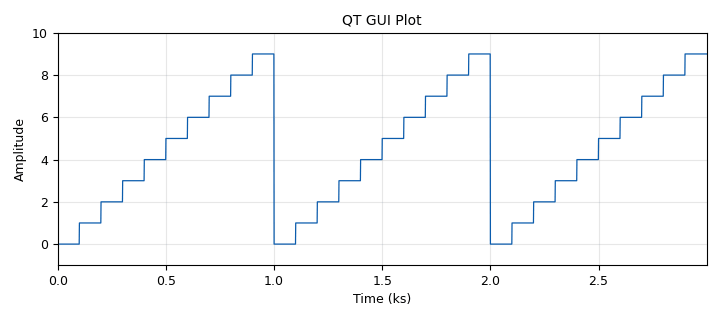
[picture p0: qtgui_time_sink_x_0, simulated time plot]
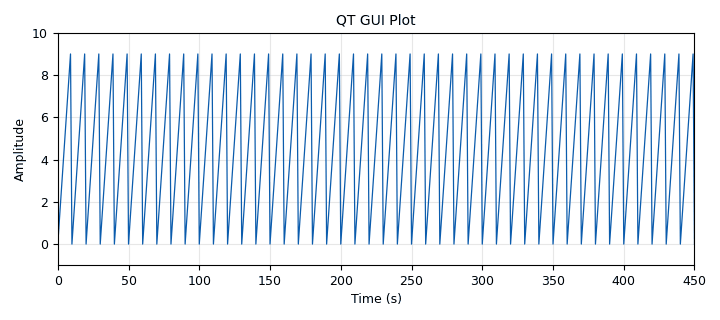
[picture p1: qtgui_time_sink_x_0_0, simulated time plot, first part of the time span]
<?xml version='1.0' encoding='utf-8'?>
<flow_graph>
<block>
<key>options</key>
<param><key>id</key><value>tags_interp</value></param>
<param><key>generate_options</key><value>qt_gui</value></param>
<param><key>category</key><value>Custom</value></param>
</block>
<block>
<key>variable</key>
<param><key>id</key><value>samp_rate</value></param>
<param><key>value</key><value>32000</value></param>
</block>
<block>
<key>blocks_tags_strobe</key>
<param><key>id</key><value>blocks_tags_strobe_0</value></param>
<param><key>type</key><value>float</value></param>
<param><key>value</key><value>pmt.intern("TEST")</value></param>
<param><key>key</key><value>pmt.intern("strobe")</value></param>
<param><key>nsamps</key><value>10</value></param>
</block>
<block>
<key>blocks_vector_source_x</key>
<param><key>id</key><value>blocks_vector_source_x_0</value></param>
<param><key>type</key><value>float</value></param>
<param><key>vector</key><value>range(10)</value></param>
<param><key>repeat</key><value>True</value></param>
</block>
<block>
<key>blocks_add_xx</key>
<param><key>id</key><value>blocks_add_xx_0</value></param>
<param><key>type</key><value>float</value></param>
</block>
<block>
<key>blocks_repeat</key>
<param><key>id</key><value>blocks_repeat_0</value></param>
<param><key>type</key><value>float</value></param>
<param><key>interp</key><value>100</value></param>
</block>
<block>
<key>qtgui_time_sink_x</key>
<param><key>id</key><value>qtgui_time_sink_x_0</value></param>
<param><key>type</key><value>float</value></param>
<param><key>name</key><value>QT GUI Plot</value></param>
<param><key>size</key><value>3000</value></param>
<param><key>srate</key><value>1</value></param>
<param><key>ymax</key><value>10</value></param>
<param><key>tr_mode</key><value>qtgui.TRIG_MODE_TAG</value></param>
<param><key>tr_tag</key><value>"strobe"</value></param>
<param><key>label1</key><value></value></param>
<param><key>color1</key><value>"blue"</value></param>
</block>
<block>
<key>blocks_throttle</key>
<param><key>id</key><value>blocks_throttle_0</value></param>
<param><key>type</key><value>float</value></param>
<param><key>samples_per_second</key><value>samp_rate</value></param>
</block>
<block>
<key>qtgui_time_sink_x</key>
<param><key>id</key><value>qtgui_time_sink_x_0_0</value></param>
<param><key>type</key><value>float</value></param>
<param><key>name</key><value>QT GUI Plot</value></param>
<param><key>size</key><value>3000</value></param>
<param><key>srate</key><value>1</value></param>
<param><key>ymax</key><value>10</value></param>
<param><key>tr_mode</key><value>qtgui.TRIG_MODE_TAG</value></param>
<param><key>tr_tag</key><value>"strobe"</value></param>
<param><key>label1</key><value></value></param>
<param><key>color1</key><value>"blue"</value></param>
</block>
<connection><source_block_id>blocks_vector_source_x_0</source_block_id><sink_block_id>blocks_add_xx_0</sink_block_id><source_key>0</source_key><sink_key>0</sink_key></connection>
<connection><source_block_id>blocks_tags_strobe_0</source_block_id><sink_block_id>blocks_add_xx_0</sink_block_id><source_key>0</source_key><sink_key>1</sink_key></connection>
<connection><source_block_id>blocks_add_xx_0</source_block_id><sink_block_id>blocks_throttle_0</sink_block_id><source_key>0</source_key><sink_key>0</sink_key></connection>
<connection><source_block_id>blocks_throttle_0</source_block_id><sink_block_id>blocks_repeat_0</sink_block_id><source_key>0</source_key><sink_key>0</sink_key></connection>
<connection><source_block_id>blocks_repeat_0</source_block_id><sink_block_id>qtgui_time_sink_x_0</sink_block_id><source_key>0</source_key><sink_key>0</sink_key></connection>
<connection><source_block_id>blocks_throttle_0</source_block_id><sink_block_id>qtgui_time_sink_x_0_0</sink_block_id><source_key>0</source_key><sink_key>0</sink_key></connection>
</flow_graph>
